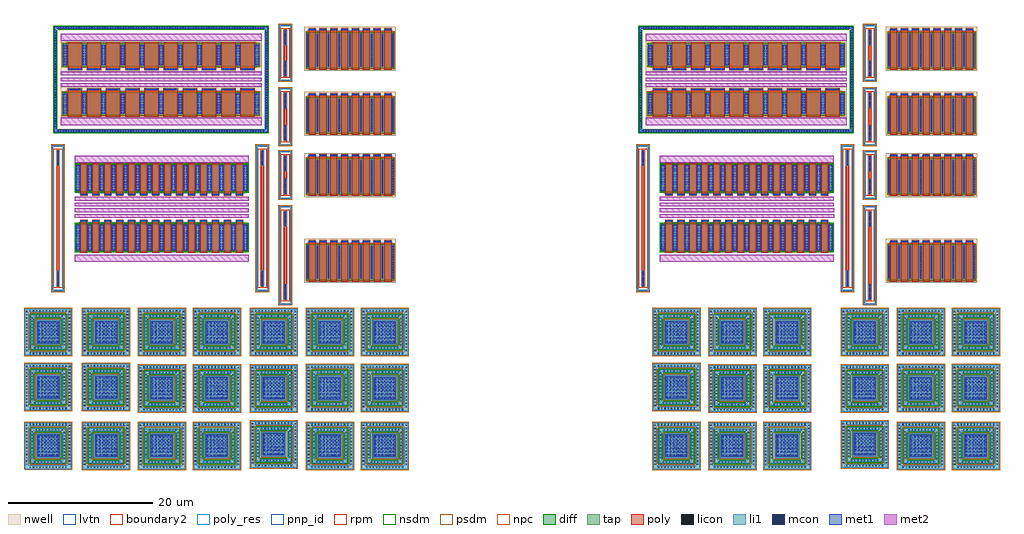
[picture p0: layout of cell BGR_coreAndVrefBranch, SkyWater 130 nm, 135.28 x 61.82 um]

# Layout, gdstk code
import gdstk
lib = gdstk.Library(unit=1e-6, precision=1e-09)
def R(c, l, rs):  # rectangles x0, y0, x1, y1
    for r in rs: c.add(gdstk.rectangle(r[:2], r[2:], *l))
def A(c, l, x, y, w, h, nx, ny, dx, dy):  # array of equal rectangles
    R(c, l, [(x+i*dx, y+j*dy, x+i*dx+w, y+j*dy+h) for i in range(nx) for j in range(ny)])
def P(c, l, *ps):  # polygons
    for p in ps: c.add(gdstk.Polygon(p, *l))
nwell = (64, 20)
diff = (65, 20)
tap = (65, 44)
poly_res = (66, 13)
poly = (66, 20)
licon = (66, 44)
li1 = (67, 20)
mcon = (67, 44)
met1 = (68, 20)
met2 = (69, 20)
pnp_id = (82, 44)
rpm = (86, 20)
nsdm = (93, 44)
psdm = (94, 20)
npc = (95, 20)
lvtn = (125, 44)
boundary2 = (236, 0)

nfet = lib.new_cell('nfet')
R(nfet, diff, [(0,0,2.32,3.8)])
R(nfet, poly, [(0.66,-0.2,1.66,4), (0.66,4,1.66,4.33)])
A(nfet, licon, 0.065, 0.195, 0.17, 0.17, 1, 10, 0, 0.36)
A(nfet, licon, 0.425, 0.195, 0.17, 0.17, 1, 10, 0, 0.36)
A(nfet, licon, 1.725, 0.195, 0.17, 0.17, 1, 10, 0, 0.36)
A(nfet, licon, 2.085, 0.195, 0.17, 0.17, 1, 10, 0, 0.36)
A(nfet, licon, 0.715, 4.08, 0.17, 0.17, 3, 1, 0.36, 0)
R(nfet, li1, [(0.065,0.115,0.595,3.685), (1.725,0.115,2.255,3.685), (0.635,4.08,1.685,4.25)])
A(nfet, mcon, 0.065, 0.195, 0.17, 0.17, 1, 10, 0, 0.36)
A(nfet, mcon, 0.425, 0.195, 0.17, 0.17, 1, 10, 0, 0.36)
A(nfet, mcon, 1.725, 0.195, 0.17, 0.17, 1, 10, 0, 0.36)
A(nfet, mcon, 2.085, 0.195, 0.17, 0.17, 1, 10, 0, 0.36)
A(nfet, mcon, 0.715, 4.08, 0.17, 0.17, 3, 1, 0.36, 0)
R(nfet, met1, [(0.035,0.135,0.625,3.665), (1.695,0.135,2.285,3.665), (0.655,4.05,1.665,4.28)])
R(nfet, nsdm, [(-0.125,-0.125,2.445,3.925)])
R(nfet, npc, [(0.65,3.99,1.67,4.34)])
R(nfet, lvtn, [(0.48,-0.18,1.84,3.98)])

res_poly = lib.new_cell('res_poly')
R(res_poly, tap, [(-0.825,-10.11,0.825,-9.94), (-0.825,-9.94,-0.655,9.94), (0.655,-9.94,0.825,9.94), (-0.825,9.94,0.825,10.11)])
R(res_poly, poly_res, [(-0.175,-7.36,0.175,7.36)])
R(res_poly, poly, [(-0.175,-9.46,0.175,9.46)])
A(res_poly, licon, -0.825, -9.265, 0.17, 0.17, 1, 55, 0, 0.34)
A(res_poly, licon, 0.655, -9.265, 0.17, 0.17, 1, 55, 0, 0.34)
R(res_poly, licon, [(-0.255,-10.11,-0.085,-9.94), (0.085,-10.11,0.255,-9.94), (-0.095,-9.38,0.095,-7.38), (-0.095,7.38,0.095,9.38), (-0.255,9.94,-0.085,10.11), (0.085,9.94,0.255,10.11)])
R(res_poly, li1, [(-0.825,-10.11,0.825,-9.94), (-0.825,-9.94,-0.655,9.94), (0.655,-9.94,0.825,9.94), (-0.175,-9.46,0.175,-7.3), (-0.175,7.3,0.175,9.46), (-0.825,9.94,0.825,10.11)])
A(res_poly, mcon, -0.085, -9.36, 0.17, 0.17, 1, 6, 0, 0.36)
A(res_poly, mcon, -0.085, 7.395, 0.17, 0.17, 1, 6, 0, 0.36)
R(res_poly, met1, [(-0.125,-9.43,0.125,-7.325), (-0.125,7.325,0.125,9.43)])
R(res_poly, rpm, [(-0.635,-9.66,0.635,9.66)])
R(res_poly, psdm, [(-0.95,-10.235,0.95,10.235)])
R(res_poly, npc, [(-0.27,-9.555,0.27,9.555)])

res_poly_3 = lib.new_cell('res_poly$3')
R(res_poly_3, tap, [(-0.825,-10.11,0.825,-9.94), (-0.825,-9.94,-0.655,9.94), (0.655,-9.94,0.825,9.94), (-0.825,9.94,0.825,10.11)])
R(res_poly_3, poly_res, [(-0.175,-7.36,0.175,7.36)])
R(res_poly_3, poly, [(-0.175,-9.46,0.175,9.46)])
A(res_poly_3, licon, -0.825, -9.265, 0.17, 0.17, 1, 55, 0, 0.34)
A(res_poly_3, licon, 0.655, -9.265, 0.17, 0.17, 1, 55, 0, 0.34)
R(res_poly_3, licon, [(-0.255,-10.11,-0.085,-9.94), (0.085,-10.11,0.255,-9.94), (-0.095,-9.38,0.095,-7.38), (-0.095,7.38,0.095,9.38), (-0.255,9.94,-0.085,10.11), (0.085,9.94,0.255,10.11)])
R(res_poly_3, li1, [(-0.825,-10.11,0.825,-9.94), (-0.825,-9.94,-0.655,9.94), (0.655,-9.94,0.825,9.94), (-0.175,-9.46,0.175,-7.3), (-0.175,7.3,0.175,9.46), (-0.825,9.94,0.825,10.11)])
A(res_poly_3, mcon, -0.085, -9.36, 0.17, 0.17, 1, 6, 0, 0.36)
A(res_poly_3, mcon, -0.085, 7.395, 0.17, 0.17, 1, 6, 0, 0.36)
R(res_poly_3, met1, [(-0.125,-9.43,0.125,-7.325), (-0.125,7.325,0.125,9.43)])
R(res_poly_3, rpm, [(-0.635,-9.66,0.635,9.66)])
R(res_poly_3, psdm, [(-0.95,-10.235,0.95,10.235)])
R(res_poly_3, npc, [(-0.27,-9.555,0.27,9.555)])

res_poly_7 = lib.new_cell('res_poly$7')
R(res_poly_7, tap, [(-0.825,-6.81,0.825,-6.64), (-0.825,-6.64,-0.655,6.64), (0.655,-6.64,0.825,6.64), (-0.825,6.64,0.825,6.81)])
R(res_poly_7, poly_res, [(-0.175,-4.06,0.175,4.06)])
R(res_poly_7, poly, [(-0.175,-6.16,0.175,6.16)])
A(res_poly_7, licon, -0.825, -6.035, 0.17, 0.17, 1, 36, 0, 0.34)
A(res_poly_7, licon, 0.655, -6.035, 0.17, 0.17, 1, 36, 0, 0.34)
R(res_poly_7, licon, [(-0.255,-6.81,-0.085,-6.64), (0.085,-6.81,0.255,-6.64), (-0.095,-6.08,0.095,-4.08), (-0.095,4.08,0.095,6.08), (-0.255,6.64,-0.085,6.81), (0.085,6.64,0.255,6.81)])
R(res_poly_7, li1, [(-0.825,-6.81,0.825,-6.64), (-0.825,-6.64,-0.655,6.64), (0.655,-6.64,0.825,6.64), (-0.175,-6.16,0.175,-4), (-0.175,4,0.175,6.16), (-0.825,6.64,0.825,6.81)])
A(res_poly_7, mcon, -0.085, -6.06, 0.17, 0.17, 1, 6, 0, 0.36)
A(res_poly_7, mcon, -0.085, 4.095, 0.17, 0.17, 1, 6, 0, 0.36)
R(res_poly_7, met1, [(-0.125,-6.13,0.125,-4.025), (-0.125,4.025,0.125,6.13)])
R(res_poly_7, rpm, [(-0.635,-6.36,0.635,6.36)])
R(res_poly_7, psdm, [(-0.95,-6.935,0.95,6.935)])
R(res_poly_7, npc, [(-0.27,-6.255,0.27,6.255)])

pfet_2 = lib.new_cell('pfet$2')
R(pfet_2, nwell, [(-0.305,-0.38,12.405,5.72)])
R(pfet_2, diff, [(0,0,12.1,5)])
A(pfet_2, poly, 0.3, -0.2, 1, 5.4, 8, 1, 1.5, 0)
A(pfet_2, poly, 0.3, 5.2, 1, 0.33, 8, 1, 1.5, 0)
A(pfet_2, licon, 0.065, 0.255, 0.17, 0.17, 1, 13, 0, 0.36)
A(pfet_2, licon, 1.465, 0.255, 0.17, 0.17, 7, 13, 1.5, 0.36)
A(pfet_2, licon, 11.865, 0.255, 0.17, 0.17, 1, 13, 0, 0.36)
A(pfet_2, licon, 0.355, 5.28, 0.17, 0.17, 3, 1, 0.36, 0)
A(pfet_2, licon, 1.855, 5.28, 0.17, 0.17, 3, 1, 0.36, 0)
A(pfet_2, licon, 3.355, 5.28, 0.17, 0.17, 3, 1, 0.36, 0)
A(pfet_2, licon, 4.855, 5.28, 0.17, 0.17, 3, 1, 0.36, 0)
A(pfet_2, licon, 6.355, 5.28, 0.17, 0.17, 3, 1, 0.36, 0)
A(pfet_2, licon, 7.855, 5.28, 0.17, 0.17, 3, 1, 0.36, 0)
A(pfet_2, licon, 9.355, 5.28, 0.17, 0.17, 3, 1, 0.36, 0)
A(pfet_2, licon, 10.855, 5.28, 0.17, 0.17, 3, 1, 0.36, 0)
A(pfet_2, li1, 1.465, 0.175, 0.17, 4.65, 7, 1, 1.5, 0)
A(pfet_2, li1, 0.275, 5.28, 1.05, 0.17, 8, 1, 1.5, 0)
R(pfet_2, li1, [(0.065,0.175,0.235,4.825), (11.865,0.175,12.035,4.825)])
A(pfet_2, mcon, 0.065, 0.255, 0.17, 0.17, 1, 13, 0, 0.36)
A(pfet_2, mcon, 1.465, 0.255, 0.17, 0.17, 7, 13, 1.5, 0.36)
A(pfet_2, mcon, 11.865, 0.255, 0.17, 0.17, 1, 13, 0, 0.36)
A(pfet_2, mcon, 0.355, 5.28, 0.17, 0.17, 3, 1, 0.36, 0)
A(pfet_2, mcon, 1.855, 5.28, 0.17, 0.17, 3, 1, 0.36, 0)
A(pfet_2, mcon, 3.355, 5.28, 0.17, 0.17, 3, 1, 0.36, 0)
A(pfet_2, mcon, 4.855, 5.28, 0.17, 0.17, 3, 1, 0.36, 0)
A(pfet_2, mcon, 6.355, 5.28, 0.17, 0.17, 3, 1, 0.36, 0)
A(pfet_2, mcon, 7.855, 5.28, 0.17, 0.17, 3, 1, 0.36, 0)
A(pfet_2, mcon, 9.355, 5.28, 0.17, 0.17, 3, 1, 0.36, 0)
A(pfet_2, mcon, 10.855, 5.28, 0.17, 0.17, 3, 1, 0.36, 0)
A(pfet_2, met1, 1.435, 0.195, 0.23, 4.61, 7, 1, 1.5, 0)
A(pfet_2, met1, 0.295, 5.25, 1.01, 0.23, 8, 1, 1.5, 0)
R(pfet_2, met1, [(0.035,0.195,0.265,4.805), (11.835,0.195,12.065,4.805)])
R(pfet_2, psdm, [(-0.125,-0.125,12.225,5.125)])
A(pfet_2, npc, 0.29, 5.19, 1.02, 0.35, 8, 1, 1.5, 0)
R(pfet_2, lvtn, [(0.12,-0.18,11.98,5.18)])

pfet = lib.new_cell('pfet')
R(pfet, nwell, [(-0.305,-0.38,3.625,3.92)])
R(pfet, diff, [(0,0,3.32,3.2)])
R(pfet, poly, [(0.66,-0.2,2.66,3.4), (0.66,3.4,2.66,3.73)])
A(pfet, licon, 0.065, 0.255, 0.17, 0.17, 1, 8, 0, 0.36)
A(pfet, licon, 0.425, 0.255, 0.17, 0.17, 1, 8, 0, 0.36)
A(pfet, licon, 2.725, 0.255, 0.17, 0.17, 1, 8, 0, 0.36)
A(pfet, licon, 3.085, 0.255, 0.17, 0.17, 1, 8, 0, 0.36)
A(pfet, licon, 0.855, 3.48, 0.17, 0.17, 5, 1, 0.36, 0)
R(pfet, li1, [(0.065,0.175,0.595,3.025), (2.725,0.175,3.255,3.025), (0.775,3.48,2.545,3.65)])
A(pfet, mcon, 0.065, 0.255, 0.17, 0.17, 1, 8, 0, 0.36)
A(pfet, mcon, 0.425, 0.255, 0.17, 0.17, 1, 8, 0, 0.36)
A(pfet, mcon, 2.725, 0.255, 0.17, 0.17, 1, 8, 0, 0.36)
A(pfet, mcon, 3.085, 0.255, 0.17, 0.17, 1, 8, 0, 0.36)
A(pfet, mcon, 0.855, 3.48, 0.17, 0.17, 5, 1, 0.36, 0)
R(pfet, met1, [(0.035,0.195,0.625,3.005), (2.695,0.195,3.285,3.005), (0.795,3.45,2.525,3.68)])
R(pfet, psdm, [(-0.125,-0.125,3.445,3.325)])
R(pfet, npc, [(0.65,3.39,2.67,3.74)])
R(pfet, lvtn, [(0.48,-0.18,2.84,3.38)])

pfet_1 = lib.new_cell('pfet$1')
R(pfet_1, nwell, [(-0.305,-0.72,3.625,3.58)])
R(pfet_1, diff, [(0,0,3.32,3.2)])
R(pfet_1, poly, [(0.66,-0.53,2.66,-0.2), (0.66,-0.2,2.66,3.4)])
A(pfet_1, licon, 0.855, -0.45, 0.17, 0.17, 5, 1, 0.36, 0)
A(pfet_1, licon, 0.065, 0.255, 0.17, 0.17, 1, 8, 0, 0.36)
A(pfet_1, licon, 0.425, 0.255, 0.17, 0.17, 1, 8, 0, 0.36)
A(pfet_1, licon, 2.725, 0.255, 0.17, 0.17, 1, 8, 0, 0.36)
A(pfet_1, licon, 3.085, 0.255, 0.17, 0.17, 1, 8, 0, 0.36)
R(pfet_1, li1, [(0.775,-0.45,2.545,-0.28), (0.065,0.175,0.595,3.025), (2.725,0.175,3.255,3.025)])
A(pfet_1, mcon, 0.855, -0.45, 0.17, 0.17, 5, 1, 0.36, 0)
A(pfet_1, mcon, 0.065, 0.255, 0.17, 0.17, 1, 8, 0, 0.36)
A(pfet_1, mcon, 0.425, 0.255, 0.17, 0.17, 1, 8, 0, 0.36)
A(pfet_1, mcon, 2.725, 0.255, 0.17, 0.17, 1, 8, 0, 0.36)
A(pfet_1, mcon, 3.085, 0.255, 0.17, 0.17, 1, 8, 0, 0.36)
R(pfet_1, met1, [(0.795,-0.48,2.525,-0.25), (0.035,0.195,0.625,3.005), (2.695,0.195,3.285,3.005)])
R(pfet_1, psdm, [(-0.125,-0.125,3.445,3.325)])
R(pfet_1, npc, [(0.65,-0.54,2.67,-0.19)])
R(pfet_1, lvtn, [(0.48,-0.18,2.84,3.38)])

guard_ring_gen = lib.new_cell('guard_ring_gen')
P(guard_ring_gen, tap, [(-0.3,-0.3),(-0.3,14),(0,14),(0,0),(29,0),(29,14),(-0.3,14),(-0.3,14.3),(29.3,14.3),(29.3,-0.3)])
A(guard_ring_gen, licon, 0.195, -0.235, 0.17, 0.17, 80, 2, 0.36, 14.3)
A(guard_ring_gen, licon, -0.235, 0.435, 0.17, 0.17, 1, 37, 0, 0.36)
A(guard_ring_gen, licon, 29.065, 0.435, 0.17, 0.17, 1, 37, 0, 0.36)
P(guard_ring_gen, li1, [(-0.3,-0.3),(-0.3,14),(0,14),(0,0),(29,0),(29,14),(-0.3,14),(-0.3,14.3),(29.3,14.3),(29.3,-0.3)])
A(guard_ring_gen, mcon, 0.195, -0.235, 0.17, 0.17, 80, 2, 0.36, 14.3)
A(guard_ring_gen, mcon, -0.235, 0.435, 0.17, 0.17, 1, 37, 0, 0.36)
A(guard_ring_gen, mcon, 29.065, 0.435, 0.17, 0.17, 1, 37, 0, 0.36)
P(guard_ring_gen, met1, [(-0.3,-0.3),(-0.3,14),(0,14),(0,0),(29,0),(29,14),(-0.3,14),(-0.3,14.3),(29.3,14.3),(29.3,-0.3)])
P(guard_ring_gen, nsdm, [(-0.425,-0.425),(-0.425,13.875),(0.125,13.875),(0.125,0.125),(28.875,0.125),(28.875,13.875),(-0.425,13.875),(-0.425,14.425),(29.425,14.425),(29.425,-0.425)])

res_poly_2 = lib.new_cell('res_poly$2')
R(res_poly_2, tap, [(-0.825,-3.885,0.825,-3.715), (-0.825,-3.715,-0.655,3.715), (0.655,-3.715,0.825,3.715), (-0.825,3.715,0.825,3.885)])
R(res_poly_2, poly_res, [(-0.175,-1.135,0.175,1.135)])
R(res_poly_2, poly, [(-0.175,-3.235,0.175,3.235)])
A(res_poly_2, licon, -0.825, -2.975, 0.17, 0.17, 1, 18, 0, 0.34)
A(res_poly_2, licon, 0.655, -2.975, 0.17, 0.17, 1, 18, 0, 0.34)
R(res_poly_2, licon, [(-0.255,-3.885,-0.085,-3.715), (0.085,-3.885,0.255,-3.715), (-0.095,-3.155,0.095,-1.155), (-0.095,1.155,0.095,3.155), (-0.255,3.715,-0.085,3.885), (0.085,3.715,0.255,3.885)])
R(res_poly_2, li1, [(-0.825,-3.885,0.825,-3.715), (-0.825,-3.715,-0.655,3.715), (0.655,-3.715,0.825,3.715), (-0.175,-3.235,0.175,-1.075), (-0.175,1.075,0.175,3.235), (-0.825,3.715,0.825,3.885)])
A(res_poly_2, mcon, -0.085, -3.135, 0.17, 0.17, 1, 6, 0, 0.36)
A(res_poly_2, mcon, -0.085, 1.17, 0.17, 0.17, 1, 6, 0, 0.36)
R(res_poly_2, met1, [(-0.125,-3.205,0.125,-1.1), (-0.125,1.1,0.125,3.205)])
R(res_poly_2, rpm, [(-0.635,-3.435,0.635,3.435)])
R(res_poly_2, psdm, [(-0.95,-4.01,0.95,4.01)])
R(res_poly_2, npc, [(-0.27,-3.33,0.27,3.33)])

res_poly_4 = lib.new_cell('res_poly$4')
R(res_poly_4, tap, [(-0.825,-3.96,0.825,-3.79), (-0.825,-3.79,-0.655,3.79), (0.655,-3.79,0.825,3.79), (-0.825,3.79,0.825,3.96)])
R(res_poly_4, poly_res, [(-0.175,-1.21,0.175,1.21)])
R(res_poly_4, poly, [(-0.175,-3.31,0.175,3.31)])
A(res_poly_4, licon, -0.825, -3.145, 0.17, 0.17, 1, 19, 0, 0.34)
A(res_poly_4, licon, 0.655, -3.145, 0.17, 0.17, 1, 19, 0, 0.34)
R(res_poly_4, licon, [(-0.255,-3.96,-0.085,-3.79), (0.085,-3.96,0.255,-3.79), (-0.095,-3.23,0.095,-1.23), (-0.095,1.23,0.095,3.23), (-0.255,3.79,-0.085,3.96), (0.085,3.79,0.255,3.96)])
R(res_poly_4, li1, [(-0.825,-3.96,0.825,-3.79), (-0.825,-3.79,-0.655,3.79), (0.655,-3.79,0.825,3.79), (-0.175,-3.31,0.175,-1.15), (-0.175,1.15,0.175,3.31), (-0.825,3.79,0.825,3.96)])
A(res_poly_4, mcon, -0.085, -3.21, 0.17, 0.17, 1, 6, 0, 0.36)
A(res_poly_4, mcon, -0.085, 1.245, 0.17, 0.17, 1, 6, 0, 0.36)
R(res_poly_4, met1, [(-0.125,-3.285,0.125,-1.175), (-0.125,1.175,0.125,3.285)])
R(res_poly_4, rpm, [(-0.635,-3.51,0.635,3.51)])
R(res_poly_4, psdm, [(-0.95,-4.085,0.95,4.085)])
R(res_poly_4, npc, [(-0.27,-3.405,0.27,3.405)])

res_poly_5 = lib.new_cell('res_poly$5')
R(res_poly_5, tap, [(-0.825,-3.31,0.825,-3.14), (-0.825,-3.14,-0.655,3.14), (0.655,-3.14,0.825,3.14), (-0.825,3.14,0.825,3.31)])
R(res_poly_5, poly_res, [(-0.175,-0.56,0.175,0.56)])
R(res_poly_5, poly, [(-0.175,-2.66,0.175,2.66)])
A(res_poly_5, licon, -0.825, -2.465, 0.17, 0.17, 1, 15, 0, 0.34)
A(res_poly_5, licon, 0.655, -2.465, 0.17, 0.17, 1, 15, 0, 0.34)
R(res_poly_5, licon, [(-0.255,-3.31,-0.085,-3.14), (0.085,-3.31,0.255,-3.14), (-0.095,-2.58,0.095,-0.58), (-0.095,0.58,0.095,2.58), (-0.255,3.14,-0.085,3.31), (0.085,3.14,0.255,3.31)])
R(res_poly_5, li1, [(-0.825,-3.31,0.825,-3.14), (-0.825,-3.14,-0.655,3.14), (0.655,-3.14,0.825,3.14), (-0.175,-2.66,0.175,-0.5), (-0.175,0.5,0.175,2.66), (-0.825,3.14,0.825,3.31)])
A(res_poly_5, mcon, -0.085, -2.56, 0.17, 0.17, 1, 6, 0, 0.36)
A(res_poly_5, mcon, -0.085, 0.595, 0.17, 0.17, 1, 6, 0, 0.36)
R(res_poly_5, met1, [(-0.125,-2.63,0.125,-0.525), (-0.125,0.525,0.125,2.63)])
R(res_poly_5, rpm, [(-0.635,-2.86,0.635,2.86)])
R(res_poly_5, psdm, [(-0.95,-3.435,0.95,3.435)])
R(res_poly_5, npc, [(-0.27,-2.755,0.27,2.755)])

pnp_bjt = lib.new_cell('pnp_bjt')
R(pnp_bjt, nwell, [(0.765,0.765,5.935,5.935)])
R(pnp_bjt, diff, [(1.65,1.65,5.05,5.05)])
P(pnp_bjt, tap, [(0.945,0.945),(0.945,5.755),(5.395,5.755),(5.395,5.395),(1.305,5.395),(1.305,1.305),(5.395,1.305),(5.395,5.755),(5.755,5.755),(5.755,0.945)],
  [(0.13,0.13),(0.13,6.57),(6.065,6.57),(6.065,6.065),(0.635,6.065),(0.635,0.635),(6.065,0.635),(6.065,6.57),(6.57,6.57),(6.57,0.13)])
A(pnp_bjt, licon, 0.78, 0.29, 0.17, 0.17, 12, 2, 0.45, 5.935)
A(pnp_bjt, licon, 0.3, 0.71, 0.17, 0.17, 1, 13, 0, 0.45)
A(pnp_bjt, licon, 6.235, 0.71, 0.17, 0.17, 1, 13, 0, 0.45)
A(pnp_bjt, licon, 1.43, 1.04, 0.17, 0.17, 9, 1, 0.45, 0)
A(pnp_bjt, licon, 5.49, 1.51, 0.17, 0.17, 1, 9, 0, 0.45)
A(pnp_bjt, licon, 1.04, 1.605, 0.17, 0.17, 1, 9, 0, 0.45)
A(pnp_bjt, licon, 1.92, 1.92, 0.17, 0.17, 7, 7, 0.45, 0.45)
A(pnp_bjt, licon, 1.6, 5.49, 0.17, 0.17, 9, 1, 0.45, 0)
A(pnp_bjt, li1, 0.58, 0.21, 0.33, 0.33, 12, 1, 0.45, 0)
A(pnp_bjt, li1, 0.675, 0.24, 0.27, 0.27, 11, 2, 0.5, 5.96)
A(pnp_bjt, li1, 6.16, 0.54, 0.33, 0.33, 1, 13, 0, 0.45)
A(pnp_bjt, li1, 0.22, 0.63, 0.33, 0.33, 1, 13, 0, 0.45)
A(pnp_bjt, li1, 1.35, 0.96, 0.33, 0.33, 9, 1, 0.45, 0)
A(pnp_bjt, li1, 1.14, 0.985, 0.27, 0.27, 9, 1, 0.5, 0)
A(pnp_bjt, li1, 5.41, 1.43, 0.33, 0.33, 1, 9, 0, 0.45)
A(pnp_bjt, li1, 0.96, 1.525, 0.33, 0.33, 1, 9, 0, 0.45)
A(pnp_bjt, li1, 1.84, 1.84, 0.33, 0.33, 7, 7, 0.45, 0.45)
A(pnp_bjt, li1, 1.93, 1.93, 0.27, 0.27, 6, 6, 0.5, 0.5)
A(pnp_bjt, li1, 1.52, 5.41, 0.33, 0.33, 9, 1, 0.45, 0)
A(pnp_bjt, li1, 1.155, 5.44, 0.27, 0.27, 9, 1, 0.5, 0)
A(pnp_bjt, li1, 0.7, 6.165, 0.33, 0.33, 12, 1, 0.45, 0)
R(pnp_bjt, li1, [(1.615,1.615,5.085,5.085), (1.65,1.65,5.05,5.05)])
P(pnp_bjt, li1, [(0.13,0.13),(0.13,6.57),(6.075,6.57),(6.075,6.075),(0.625,6.075),(0.625,0.625),(6.075,0.625),(6.075,6.57),(6.57,6.57),(6.57,0.13)],
  [(0.945,0.945),(0.945,5.755),(5.395,5.755),(5.395,5.395),(1.305,5.395),(1.305,1.305),(5.395,1.305),(5.395,5.755),(5.755,5.755),(5.755,0.945)])
A(pnp_bjt, mcon, 1.98, 1.98, 0.17, 0.17, 6, 6, 0.5, 0.5)
A(pnp_bjt, met1, 1.93, 1.93, 0.27, 0.27, 6, 6, 0.5, 0.5)
R(pnp_bjt, met1, [(1.825,1.825,4.875,4.875)])
R(pnp_bjt, pnp_id, [(0.135,0.135,6.565,6.565)])
P(pnp_bjt, nsdm, [(0.805,0.805),(0.805,5.895),(5.265,5.895),(5.265,5.265),(1.435,5.265),(1.435,1.435),(5.265,1.435),(5.265,5.895),(5.895,5.895),(5.895,0.805)])
R(pnp_bjt, psdm, [(1.52,1.52,5.18,5.18)])
P(pnp_bjt, psdm, [(0,0),(0,6.7),(5.935,6.7),(5.935,5.935),(0.765,5.935),(0.765,0.765),(5.935,0.765),(5.935,6.7),(6.7,6.7),(6.7,0)])
R(pnp_bjt, boundary2, [(0.13,0.13,6.57,6.57)])
pnp_bjt.add(gdstk.Label('Emitter', (3.39,3.39), layer=67, texttype=5))
pnp_bjt.add(gdstk.Label('Collector', (3.32,6.38), layer=67, texttype=5))
pnp_bjt.add(gdstk.Label('Base', (3.245,5.61), layer=67, texttype=5))

bgr_coreandvrefbranch = lib.new_cell('BGR_coreAndVrefBranch')
R(bgr_coreandvrefbranch, lvtn, [(101.459,41.019,124.398,45.176), (182.556,41.019,205.495,45.176), (101.458,49.242,124.397,53.403), (182.555,49.242,205.494,53.403), (99.696,59.855,125.996,63.415), (180.793,59.855,207.093,63.415), (105.016,59.856,120.676,63.416), (186.113,59.856,201.773,63.416), (99.701,66.596,126.001,70.156), (105.021,66.596,120.681,70.156), (180.798,66.596,207.098,70.156), (186.118,66.596,201.778,70.156)])
bgr_coreandvrefbranch.add(gdstk.FlexPath([(126.788,70.856),(98.916,70.856)], 1, ends="flush", simple_path=True, layer=69, datatype=20))  # met2
bgr_coreandvrefbranch.add(gdstk.FlexPath([(126.788,65.806),(98.917,65.806)], 0.5, ends="flush", simple_path=True, layer=69, datatype=20))  # met2
bgr_coreandvrefbranch.add(gdstk.FlexPath([(126.788,64.206),(98.91,64.206)], 0.5, ends="flush", simple_path=True, layer=69, datatype=20))  # met2
bgr_coreandvrefbranch.add(gdstk.FlexPath([(126.78,59.156),(98.91,59.156)], 1, ends="flush", simple_path=True, layer=69, datatype=20))  # met2
bgr_coreandvrefbranch.add(gdstk.FlexPath([(126.788,65.006),(98.917,65.006)], 0.5, ends="flush", simple_path=True, layer=69, datatype=20))  # met2
bgr_coreandvrefbranch.add(gdstk.FlexPath([(125.007,48.454),(100.854,48.454)], 0.5, ends="flush", simple_path=True, layer=69, datatype=20))  # met2
bgr_coreandvrefbranch.add(gdstk.FlexPath([(125.006,47.653),(100.847,47.653)], 0.5, ends="flush", simple_path=True, layer=69, datatype=20))  # met2
bgr_coreandvrefbranch.add(gdstk.FlexPath([(125.017,46.854),(100.846,46.854)], 0.5, ends="flush", simple_path=True, layer=69, datatype=20))  # met2
bgr_coreandvrefbranch.add(gdstk.FlexPath([(125.017,46.054),(100.845,46.054)], 0.5, ends="flush", simple_path=True, layer=69, datatype=20))  # met2
bgr_coreandvrefbranch.add(gdstk.FlexPath([(124.999,53.94),(100.854,53.94)], 1, ends="flush", simple_path=True, layer=69, datatype=20))  # met2
bgr_coreandvrefbranch.add(gdstk.FlexPath([(124.99,40.206),(100.841,40.206)], 1, ends="flush", simple_path=True, layer=69, datatype=20))  # met2
bgr_coreandvrefbranch.add(gdstk.FlexPath([(207.885,70.856),(180.013,70.856)], 1, ends="flush", simple_path=True, layer=69, datatype=20))  # met2
bgr_coreandvrefbranch.add(gdstk.FlexPath([(207.885,65.806),(180.014,65.806)], 0.5, ends="flush", simple_path=True, layer=69, datatype=20))  # met2
bgr_coreandvrefbranch.add(gdstk.FlexPath([(207.885,64.206),(180.007,64.206)], 0.5, ends="flush", simple_path=True, layer=69, datatype=20))  # met2
bgr_coreandvrefbranch.add(gdstk.FlexPath([(207.877,59.156),(180.007,59.156)], 1, ends="flush", simple_path=True, layer=69, datatype=20))  # met2
bgr_coreandvrefbranch.add(gdstk.FlexPath([(207.885,65.006),(180.014,65.006)], 0.5, ends="flush", simple_path=True, layer=69, datatype=20))  # met2
bgr_coreandvrefbranch.add(gdstk.FlexPath([(206.104,48.454),(181.951,48.454)], 0.5, ends="flush", simple_path=True, layer=69, datatype=20))  # met2
bgr_coreandvrefbranch.add(gdstk.FlexPath([(206.103,47.653),(181.944,47.653)], 0.5, ends="flush", simple_path=True, layer=69, datatype=20))  # met2
bgr_coreandvrefbranch.add(gdstk.FlexPath([(206.114,46.854),(181.943,46.854)], 0.5, ends="flush", simple_path=True, layer=69, datatype=20))  # met2
bgr_coreandvrefbranch.add(gdstk.FlexPath([(206.114,46.054),(181.942,46.054)], 0.5, ends="flush", simple_path=True, layer=69, datatype=20))  # met2
bgr_coreandvrefbranch.add(gdstk.FlexPath([(206.096,53.94),(181.951,53.94)], 1, ends="flush", simple_path=True, layer=69, datatype=20))  # met2
bgr_coreandvrefbranch.add(gdstk.FlexPath([(206.087,40.206),(181.938,40.206)], 1, ends="flush", simple_path=True, layer=69, datatype=20))  # met2
bgr_coreandvrefbranch.add(gdstk.Reference(nfet, (115.92,41.198)))
bgr_coreandvrefbranch.add(gdstk.Reference(nfet, (117.58,41.198)))
bgr_coreandvrefbranch.add(gdstk.Reference(nfet, (109.28,41.199)))
bgr_coreandvrefbranch.add(gdstk.Reference(nfet, (110.94,41.199)))
bgr_coreandvrefbranch.add(gdstk.Reference(nfet, (112.6,41.199)))
bgr_coreandvrefbranch.add(gdstk.Reference(nfet, (114.26,41.199)))
bgr_coreandvrefbranch.add(gdstk.Reference(nfet, (105.958,41.197)))
bgr_coreandvrefbranch.add(gdstk.Reference(nfet, (107.618,41.197)))
bgr_coreandvrefbranch.add(gdstk.Reference(nfet, (102.637,41.196)))
bgr_coreandvrefbranch.add(gdstk.Reference(nfet, (104.297,41.196)))
bgr_coreandvrefbranch.add(gdstk.Reference(nfet, (120.898,41.196)))
bgr_coreandvrefbranch.add(gdstk.Reference(nfet, (119.238,41.196)))
bgr_coreandvrefbranch.add(gdstk.Reference(nfet, (100.979,41.196)))
bgr_coreandvrefbranch.add(gdstk.Reference(nfet, (122.558,41.196)))
bgr_coreandvrefbranch.add(gdstk.Reference(res_poly, (98.558,45.749)))
bgr_coreandvrefbranch.add(gdstk.Reference(res_poly_3, (126.875,45.748)))
bgr_coreandvrefbranch.add(gdstk.Reference(res_poly_7, (130.062,40.603)))
bgr_coreandvrefbranch.add(gdstk.Reference(pfet_2, (132.992,37.163)))
bgr_coreandvrefbranch.add(gdstk.Reference(nfet, (197.017,41.198)))
bgr_coreandvrefbranch.add(gdstk.Reference(nfet, (198.677,41.198)))
bgr_coreandvrefbranch.add(gdstk.Reference(nfet, (190.377,41.199)))
bgr_coreandvrefbranch.add(gdstk.Reference(nfet, (192.037,41.199)))
bgr_coreandvrefbranch.add(gdstk.Reference(nfet, (193.697,41.199)))
bgr_coreandvrefbranch.add(gdstk.Reference(nfet, (195.357,41.199)))
bgr_coreandvrefbranch.add(gdstk.Reference(nfet, (187.055,41.197)))
bgr_coreandvrefbranch.add(gdstk.Reference(nfet, (188.715,41.197)))
bgr_coreandvrefbranch.add(gdstk.Reference(nfet, (183.734,41.196)))
bgr_coreandvrefbranch.add(gdstk.Reference(nfet, (185.394,41.196)))
bgr_coreandvrefbranch.add(gdstk.Reference(nfet, (201.995,41.196)))
bgr_coreandvrefbranch.add(gdstk.Reference(nfet, (200.335,41.196)))
bgr_coreandvrefbranch.add(gdstk.Reference(nfet, (182.076,41.196)))
bgr_coreandvrefbranch.add(gdstk.Reference(nfet, (203.655,41.196)))
bgr_coreandvrefbranch.add(gdstk.Reference(res_poly, (179.655,45.749)))
bgr_coreandvrefbranch.add(gdstk.Reference(res_poly_3, (207.972,45.748)))
bgr_coreandvrefbranch.add(gdstk.Reference(res_poly_7, (211.079,40.603)))
bgr_coreandvrefbranch.add(gdstk.Reference(pfet_2, (213.589,37.163)))
bgr_coreandvrefbranch.add(gdstk.Reference(pfet, (198.933,60.036)))
bgr_coreandvrefbranch.add(gdstk.Reference(pfet, (196.273,60.036)))
bgr_coreandvrefbranch.add(gdstk.Reference(pfet, (193.613,60.036)))
bgr_coreandvrefbranch.add(gdstk.Reference(pfet, (190.953,60.036)))
bgr_coreandvrefbranch.add(gdstk.Reference(pfet, (185.633,60.036)))
bgr_coreandvrefbranch.add(gdstk.Reference(pfet, (180.318,69.976), x_reflection=True))
bgr_coreandvrefbranch.add(gdstk.Reference(pfet_1, (204.255,63.237), x_reflection=True))
bgr_coreandvrefbranch.add(gdstk.Reference(pfet, (204.256,69.976), x_reflection=True))
bgr_coreandvrefbranch.add(gdstk.Reference(guard_ring_gen, (179.408,57.985)))
bgr_coreandvrefbranch.add(gdstk.Reference(pfet, (190.958,69.976), x_reflection=True))
bgr_coreandvrefbranch.add(gdstk.Reference(pfet, (193.618,69.976), x_reflection=True))
bgr_coreandvrefbranch.add(gdstk.Reference(pfet, (196.278,69.976), x_reflection=True))
bgr_coreandvrefbranch.add(gdstk.Reference(pfet, (198.938,69.976), x_reflection=True))
bgr_coreandvrefbranch.add(gdstk.Reference(pfet, (185.638,69.976), x_reflection=True))
bgr_coreandvrefbranch.add(gdstk.Reference(pfet, (188.298,69.976), x_reflection=True))
bgr_coreandvrefbranch.add(gdstk.Reference(nfet, (182.076,53.225), x_reflection=True))
bgr_coreandvrefbranch.add(gdstk.Reference(nfet, (185.394,53.225), x_reflection=True))
bgr_coreandvrefbranch.add(gdstk.Reference(nfet, (183.734,53.225), x_reflection=True))
bgr_coreandvrefbranch.add(gdstk.Reference(nfet, (201.995,53.222), x_reflection=True))
bgr_coreandvrefbranch.add(gdstk.Reference(nfet, (200.335,53.222), x_reflection=True))
bgr_coreandvrefbranch.add(gdstk.Reference(nfet, (188.714,53.223), x_reflection=True))
bgr_coreandvrefbranch.add(gdstk.Reference(nfet, (187.054,53.223), x_reflection=True))
bgr_coreandvrefbranch.add(gdstk.Reference(nfet, (198.676,53.222), x_reflection=True))
bgr_coreandvrefbranch.add(gdstk.Reference(nfet, (197.016,53.222), x_reflection=True))
bgr_coreandvrefbranch.add(gdstk.Reference(nfet, (193.694,53.222), x_reflection=True))
bgr_coreandvrefbranch.add(gdstk.Reference(nfet, (195.354,53.222), x_reflection=True))
bgr_coreandvrefbranch.add(gdstk.Reference(nfet, (192.034,53.222), x_reflection=True))
bgr_coreandvrefbranch.add(gdstk.Reference(nfet, (190.374,53.222), x_reflection=True))
bgr_coreandvrefbranch.add(gdstk.Reference(nfet, (203.655,53.224), x_reflection=True))
bgr_coreandvrefbranch.add(gdstk.Reference(pfet, (201.597,69.976), x_reflection=True))
bgr_coreandvrefbranch.add(gdstk.Reference(pfet_1, (180.313,63.235), x_reflection=True))
bgr_coreandvrefbranch.add(gdstk.Reference(pfet_2, (213.588,49.062)))
bgr_coreandvrefbranch.add(gdstk.Reference(pfet, (182.977,69.976), x_reflection=True))
bgr_coreandvrefbranch.add(gdstk.Reference(pfet_1, (201.595,63.237), x_reflection=True))
bgr_coreandvrefbranch.add(gdstk.Reference(res_poly_2, (211.079,68.669)))
bgr_coreandvrefbranch.add(gdstk.Reference(res_poly_4, (211.079,59.82)))
bgr_coreandvrefbranch.add(gdstk.Reference(res_poly_5, (211.079,51.759)))
bgr_coreandvrefbranch.add(gdstk.Reference(pfet_1, (182.971,63.236), x_reflection=True))
bgr_coreandvrefbranch.add(gdstk.Reference(pfet, (188.293,60.036)))
bgr_coreandvrefbranch.add(gdstk.Reference(pfet_2, (213.586,66.552)))
bgr_coreandvrefbranch.add(gdstk.Reference(pfet_2, (213.586,57.54)))
bgr_coreandvrefbranch.add(gdstk.Reference(nfet, (120.898,53.222), x_reflection=True))
bgr_coreandvrefbranch.add(gdstk.Reference(nfet, (119.238,53.222), x_reflection=True))
bgr_coreandvrefbranch.add(gdstk.Reference(nfet, (107.617,53.223), x_reflection=True))
bgr_coreandvrefbranch.add(gdstk.Reference(nfet, (105.957,53.223), x_reflection=True))
bgr_coreandvrefbranch.add(gdstk.Reference(nfet, (117.579,53.222), x_reflection=True))
bgr_coreandvrefbranch.add(gdstk.Reference(nfet, (115.919,53.222), x_reflection=True))
bgr_coreandvrefbranch.add(gdstk.Reference(nfet, (112.597,53.222), x_reflection=True))
bgr_coreandvrefbranch.add(gdstk.Reference(nfet, (114.257,53.222), x_reflection=True))
bgr_coreandvrefbranch.add(gdstk.Reference(nfet, (110.937,53.222), x_reflection=True))
bgr_coreandvrefbranch.add(gdstk.Reference(nfet, (109.277,53.222), x_reflection=True))
bgr_coreandvrefbranch.add(gdstk.Reference(nfet, (122.558,53.224), x_reflection=True))
bgr_coreandvrefbranch.add(gdstk.Reference(pfet, (120.5,69.976), x_reflection=True))
bgr_coreandvrefbranch.add(gdstk.Reference(pfet_1, (99.216,63.235), x_reflection=True))
bgr_coreandvrefbranch.add(gdstk.Reference(pfet, (101.88,69.976), x_reflection=True))
bgr_coreandvrefbranch.add(gdstk.Reference(pfet_1, (120.498,63.237), x_reflection=True))
bgr_coreandvrefbranch.add(gdstk.Reference(res_poly_2, (130.062,68.669)))
bgr_coreandvrefbranch.add(gdstk.Reference(res_poly_4, (130.062,59.82)))
bgr_coreandvrefbranch.add(gdstk.Reference(res_poly_5, (130.062,51.759)))
bgr_coreandvrefbranch.add(gdstk.Reference(pfet_1, (101.874,63.236), x_reflection=True))
bgr_coreandvrefbranch.add(gdstk.Reference(pfet_2, (132.991,49.062)))
bgr_coreandvrefbranch.add(gdstk.Reference(pfet, (107.196,60.036)))
bgr_coreandvrefbranch.add(gdstk.Reference(pfet_2, (132.989,66.552)))
bgr_coreandvrefbranch.add(gdstk.Reference(pfet_2, (132.989,57.54)))
bgr_coreandvrefbranch.add(gdstk.Reference(pfet, (117.836,60.036)))
bgr_coreandvrefbranch.add(gdstk.Reference(pfet, (115.176,60.036)))
bgr_coreandvrefbranch.add(gdstk.Reference(pfet, (112.516,60.036)))
bgr_coreandvrefbranch.add(gdstk.Reference(pfet, (109.856,60.036)))
bgr_coreandvrefbranch.add(gdstk.Reference(pfet, (104.536,60.036)))
bgr_coreandvrefbranch.add(gdstk.Reference(pfet, (99.221,69.976), x_reflection=True))
bgr_coreandvrefbranch.add(gdstk.Reference(pfet_1, (123.158,63.237), x_reflection=True))
bgr_coreandvrefbranch.add(gdstk.Reference(pfet, (123.159,69.976), x_reflection=True))
bgr_coreandvrefbranch.add(gdstk.Reference(guard_ring_gen, (98.311,57.985)))
bgr_coreandvrefbranch.add(gdstk.Reference(pfet, (109.861,69.976), x_reflection=True))
bgr_coreandvrefbranch.add(gdstk.Reference(pfet, (112.521,69.976), x_reflection=True))
bgr_coreandvrefbranch.add(gdstk.Reference(pfet, (115.181,69.976), x_reflection=True))
bgr_coreandvrefbranch.add(gdstk.Reference(pfet, (117.841,69.976), x_reflection=True))
bgr_coreandvrefbranch.add(gdstk.Reference(pfet, (104.541,69.976), x_reflection=True))
bgr_coreandvrefbranch.add(gdstk.Reference(pfet, (107.201,69.976), x_reflection=True))
bgr_coreandvrefbranch.add(gdstk.Reference(nfet, (100.979,53.225), x_reflection=True))
bgr_coreandvrefbranch.add(gdstk.Reference(nfet, (104.297,53.225), x_reflection=True))
bgr_coreandvrefbranch.add(gdstk.Reference(nfet, (102.637,53.225), x_reflection=True))
bgr_coreandvrefbranch.add(gdstk.Reference(pnp_bjt, (125.115,26.632)))
bgr_coreandvrefbranch.add(gdstk.Reference(pnp_bjt, (109.614,18.82)))
bgr_coreandvrefbranch.add(gdstk.Reference(pnp_bjt, (117.23,26.634)))
bgr_coreandvrefbranch.add(gdstk.Reference(pnp_bjt, (101.857,19.003)))
bgr_coreandvrefbranch.add(gdstk.Reference(pnp_bjt, (101.857,10.857)))
bgr_coreandvrefbranch.add(gdstk.Reference(pnp_bjt, (132.888,18.873)))
bgr_coreandvrefbranch.add(gdstk.Reference(pnp_bjt, (132.888,26.631)))
bgr_coreandvrefbranch.add(gdstk.Reference(pnp_bjt, (101.857,26.632)))
bgr_coreandvrefbranch.add(gdstk.Reference(pnp_bjt, (132.888,10.857)))
bgr_coreandvrefbranch.add(gdstk.Reference(pnp_bjt, (140.501,10.857)))
bgr_coreandvrefbranch.add(gdstk.Reference(pnp_bjt, (140.501,18.872)))
bgr_coreandvrefbranch.add(gdstk.Reference(pnp_bjt, (93.841,26.632)))
bgr_coreandvrefbranch.add(gdstk.Reference(pnp_bjt, (93.841,19.004)))
bgr_coreandvrefbranch.add(gdstk.Reference(pnp_bjt, (93.841,10.859)))
bgr_coreandvrefbranch.add(gdstk.Reference(pnp_bjt, (140.501,26.632)))
bgr_coreandvrefbranch.add(gdstk.Reference(pnp_bjt, (117.229,18.819)))
bgr_coreandvrefbranch.add(gdstk.Reference(pnp_bjt, (125.114,18.82)))
bgr_coreandvrefbranch.add(gdstk.Reference(pnp_bjt, (125.112,11.058)))
bgr_coreandvrefbranch.add(gdstk.Reference(pnp_bjt, (117.227,10.855)))
bgr_coreandvrefbranch.add(gdstk.Reference(pnp_bjt, (109.612,10.855)))
bgr_coreandvrefbranch.add(gdstk.Reference(pnp_bjt, (109.615,26.632)))
bgr_coreandvrefbranch.add(gdstk.Reference(pnp_bjt, (180.914,10.857)))
bgr_coreandvrefbranch.add(gdstk.Reference(pnp_bjt, (214.805,18.873)))
bgr_coreandvrefbranch.add(gdstk.Reference(pnp_bjt, (214.805,26.631)))
bgr_coreandvrefbranch.add(gdstk.Reference(pnp_bjt, (180.914,26.632)))
bgr_coreandvrefbranch.add(gdstk.Reference(pnp_bjt, (214.805,10.857)))
bgr_coreandvrefbranch.add(gdstk.Reference(pnp_bjt, (222.418,10.857)))
bgr_coreandvrefbranch.add(gdstk.Reference(pnp_bjt, (222.418,18.872)))
bgr_coreandvrefbranch.add(gdstk.Reference(pnp_bjt, (196.286,18.819)))
bgr_coreandvrefbranch.add(gdstk.Reference(pnp_bjt, (222.418,26.632)))
bgr_coreandvrefbranch.add(gdstk.Reference(pnp_bjt, (207.031,18.82)))
bgr_coreandvrefbranch.add(gdstk.Reference(pnp_bjt, (207.029,11.058)))
bgr_coreandvrefbranch.add(gdstk.Reference(pnp_bjt, (196.284,10.855)))
bgr_coreandvrefbranch.add(gdstk.Reference(pnp_bjt, (188.669,10.855)))
bgr_coreandvrefbranch.add(gdstk.Reference(pnp_bjt, (188.672,26.632)))
bgr_coreandvrefbranch.add(gdstk.Reference(pnp_bjt, (207.032,26.632)))
bgr_coreandvrefbranch.add(gdstk.Reference(pnp_bjt, (188.671,18.82)))
bgr_coreandvrefbranch.add(gdstk.Reference(pnp_bjt, (196.287,26.634)))
bgr_coreandvrefbranch.add(gdstk.Reference(pnp_bjt, (180.914,19.003)))

lib.write_gds('BGR_coreAndVrefBranch.gds')
